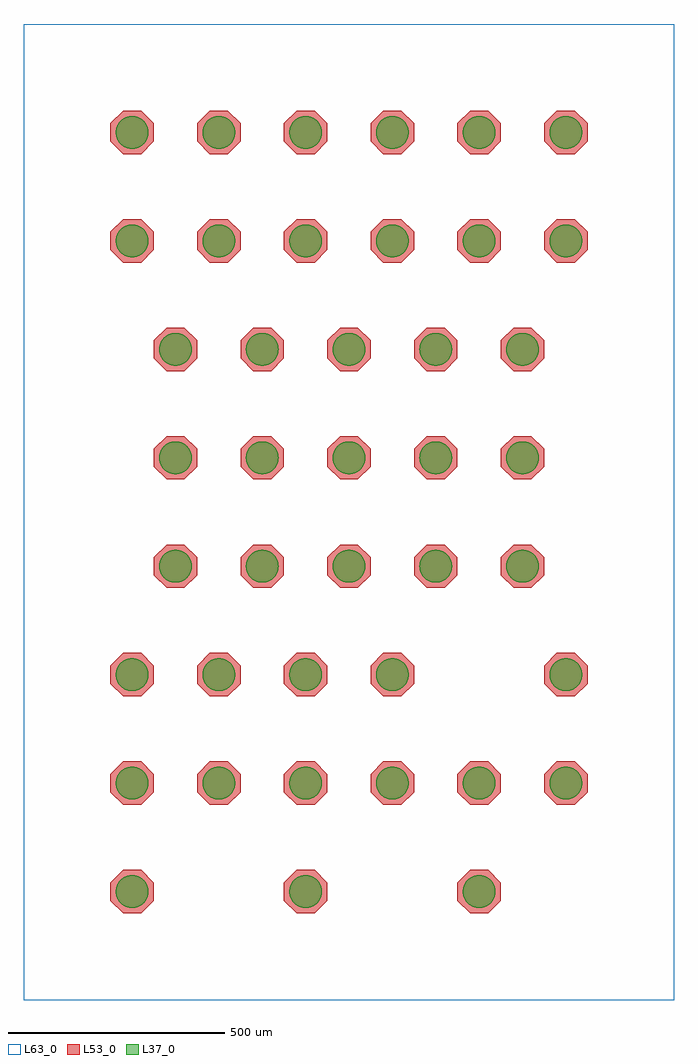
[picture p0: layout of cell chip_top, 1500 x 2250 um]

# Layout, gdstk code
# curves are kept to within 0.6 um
import gdstk
lib = gdstk.Library(unit=1e-6, precision=1e-09)
def R(c, l, rs):  # rectangles x0, y0, x1, y1
    for r in rs: c.add(gdstk.rectangle(r[:2], r[2:], *l))
def P(c, l, *ps):  # polygons
    for p in ps: c.add(gdstk.Polygon(p, *l))
L37_0 = (37, 0)
L53_0 = (53, 0)
L63_0 = (63, 0)

regular_polygon_6bb94d03 = lib.new_cell('regular_polygon_6bb94d03')
P(regular_polygon_6bb94d03, L53_0, [(20.711,-50),(50,-20.711),(50,20.711),(20.711,50),(-20.711,50),(-50,20.711),(-50,-20.711),(-20.711,-50)])

circle_cada633d = lib.new_cell('circle_cada633d')
P(circle_cada633d, L37_0, [(37.5,0),(36.681,7.797),(34.519,14.652),(31.089,20.97),(26.517,26.517),(20.97,31.089),(14.652,34.519),(7.797,36.681),(0,37.5),(-7.797,36.681),(-14.652,34.519),(-20.97,31.089),(-26.517,26.517),(-31.089,20.97),(-34.519,14.652),(-36.681,7.797),(-37.5,0),(-36.681,-7.797),(-34.519,-14.652),(-31.089,-20.97),(-26.517,-26.517),(-20.97,-31.089),(-14.652,-34.519),(-7.797,-36.681),(0,-37.5),(7.797,-36.681),(14.652,-34.519),(20.97,-31.089),(26.517,-26.517),(31.089,-20.97),(34.519,-14.652),(36.681,-7.797)])

c4_bump_octagon_993002c8 = lib.new_cell('c4_bump_octagon_993002c8')
c4_bump_octagon_993002c8.add(gdstk.Reference(regular_polygon_6bb94d03, (0,0)))
c4_bump_octagon_993002c8.add(gdstk.Reference(circle_cada633d, (0,0)))
c4_bump_octagon_993002c8.add(gdstk.Label('DVSS', (0,0), layer=53, texttype=10))

array_0a30dae9 = lib.new_cell('array_0a30dae9')
r = gdstk.Reference(c4_bump_octagon_993002c8, (0,0)); r.repetition = gdstk.Repetition(3, 2, v1=(400,0), v2=(0,250)); array_0a30dae9.add(r)

c4_bump_octagon_f25b7939 = lib.new_cell('c4_bump_octagon_f25b7939')
c4_bump_octagon_f25b7939.add(gdstk.Reference(regular_polygon_6bb94d03, (0,0)))
c4_bump_octagon_f25b7939.add(gdstk.Reference(circle_cada633d, (0,0)))
c4_bump_octagon_f25b7939.add(gdstk.Label('DVDD', (0,0), layer=53, texttype=10))

array_d0b5243a = lib.new_cell('array_d0b5243a')
r = gdstk.Reference(c4_bump_octagon_f25b7939, (0,0)); r.repetition = gdstk.Repetition(3, 2, v1=(400,0), v2=(0,250)); array_d0b5243a.add(r)

component_both_arrays = lib.new_cell('component_both_arrays')
component_both_arrays.add(gdstk.Reference(array_0a30dae9, (0,0)))
component_both_arrays.add(gdstk.Reference(array_d0b5243a, (200,0)))

array_cf3ecd37 = lib.new_cell('array_cf3ecd37')
r = gdstk.Reference(component_both_arrays, (0,0)); r.repetition = gdstk.Repetition(1, 1, v1=(1,0), v2=(0,1)); array_cf3ecd37.add(r)

c4_bump_octagon_417f5124 = lib.new_cell('c4_bump_octagon_417f5124')
c4_bump_octagon_417f5124.add(gdstk.Reference(regular_polygon_6bb94d03, (0,0)))
c4_bump_octagon_417f5124.add(gdstk.Reference(circle_cada633d, (0,0)))
c4_bump_octagon_417f5124.add(gdstk.Label('IO0', (0,0), layer=53, texttype=10))

c4_bump_octagon_abe76048 = lib.new_cell('c4_bump_octagon_abe76048')
c4_bump_octagon_abe76048.add(gdstk.Reference(regular_polygon_6bb94d03, (0,0)))
c4_bump_octagon_abe76048.add(gdstk.Reference(circle_cada633d, (0,0)))
c4_bump_octagon_abe76048.add(gdstk.Label('IO5', (0,0), layer=53, texttype=10))

c4_bump_octagon_cafefe8b = lib.new_cell('c4_bump_octagon_cafefe8b')
c4_bump_octagon_cafefe8b.add(gdstk.Reference(regular_polygon_6bb94d03, (0,0)))
c4_bump_octagon_cafefe8b.add(gdstk.Reference(circle_cada633d, (0,0)))
c4_bump_octagon_cafefe8b.add(gdstk.Label('IO10', (0,0), layer=53, texttype=10))

c4_bump_octagon_d4a20f7b = lib.new_cell('c4_bump_octagon_d4a20f7b')
c4_bump_octagon_d4a20f7b.add(gdstk.Reference(regular_polygon_6bb94d03, (0,0)))
c4_bump_octagon_d4a20f7b.add(gdstk.Reference(circle_cada633d, (0,0)))
c4_bump_octagon_d4a20f7b.add(gdstk.Label('IO1', (0,0), layer=53, texttype=10))

c4_bump_octagon_4bb3d9f8 = lib.new_cell('c4_bump_octagon_4bb3d9f8')
c4_bump_octagon_4bb3d9f8.add(gdstk.Reference(regular_polygon_6bb94d03, (0,0)))
c4_bump_octagon_4bb3d9f8.add(gdstk.Reference(circle_cada633d, (0,0)))
c4_bump_octagon_4bb3d9f8.add(gdstk.Label('IO6', (0,0), layer=53, texttype=10))

c4_bump_octagon_0ecad3bd = lib.new_cell('c4_bump_octagon_0ecad3bd')
c4_bump_octagon_0ecad3bd.add(gdstk.Reference(regular_polygon_6bb94d03, (0,0)))
c4_bump_octagon_0ecad3bd.add(gdstk.Reference(circle_cada633d, (0,0)))
c4_bump_octagon_0ecad3bd.add(gdstk.Label('IO11', (0,0), layer=53, texttype=10))

c4_bump_octagon_694fa937 = lib.new_cell('c4_bump_octagon_694fa937')
c4_bump_octagon_694fa937.add(gdstk.Reference(regular_polygon_6bb94d03, (0,0)))
c4_bump_octagon_694fa937.add(gdstk.Reference(circle_cada633d, (0,0)))
c4_bump_octagon_694fa937.add(gdstk.Label('IO2', (0,0), layer=53, texttype=10))

c4_bump_octagon_35af16ae = lib.new_cell('c4_bump_octagon_35af16ae')
c4_bump_octagon_35af16ae.add(gdstk.Reference(regular_polygon_6bb94d03, (0,0)))
c4_bump_octagon_35af16ae.add(gdstk.Reference(circle_cada633d, (0,0)))
c4_bump_octagon_35af16ae.add(gdstk.Label('IO7', (0,0), layer=53, texttype=10))

c4_bump_octagon_ea9cc903 = lib.new_cell('c4_bump_octagon_ea9cc903')
c4_bump_octagon_ea9cc903.add(gdstk.Reference(regular_polygon_6bb94d03, (0,0)))
c4_bump_octagon_ea9cc903.add(gdstk.Reference(circle_cada633d, (0,0)))
c4_bump_octagon_ea9cc903.add(gdstk.Label('IO12', (0,0), layer=53, texttype=10))

c4_bump_octagon_dbc2e500 = lib.new_cell('c4_bump_octagon_dbc2e500')
c4_bump_octagon_dbc2e500.add(gdstk.Reference(regular_polygon_6bb94d03, (0,0)))
c4_bump_octagon_dbc2e500.add(gdstk.Reference(circle_cada633d, (0,0)))
c4_bump_octagon_dbc2e500.add(gdstk.Label('IO3', (0,0), layer=53, texttype=10))

c4_bump_octagon_c54ad4dd = lib.new_cell('c4_bump_octagon_c54ad4dd')
c4_bump_octagon_c54ad4dd.add(gdstk.Reference(regular_polygon_6bb94d03, (0,0)))
c4_bump_octagon_c54ad4dd.add(gdstk.Reference(circle_cada633d, (0,0)))
c4_bump_octagon_c54ad4dd.add(gdstk.Label('IO8', (0,0), layer=53, texttype=10))

c4_bump_octagon_a8803ece = lib.new_cell('c4_bump_octagon_a8803ece')
c4_bump_octagon_a8803ece.add(gdstk.Reference(regular_polygon_6bb94d03, (0,0)))
c4_bump_octagon_a8803ece.add(gdstk.Reference(circle_cada633d, (0,0)))
c4_bump_octagon_a8803ece.add(gdstk.Label('IO13', (0,0), layer=53, texttype=10))

c4_bump_octagon_3c68c135 = lib.new_cell('c4_bump_octagon_3c68c135')
c4_bump_octagon_3c68c135.add(gdstk.Reference(regular_polygon_6bb94d03, (0,0)))
c4_bump_octagon_3c68c135.add(gdstk.Reference(circle_cada633d, (0,0)))
c4_bump_octagon_3c68c135.add(gdstk.Label('IO4', (0,0), layer=53, texttype=10))

c4_bump_octagon_a30aa7ed = lib.new_cell('c4_bump_octagon_a30aa7ed')
c4_bump_octagon_a30aa7ed.add(gdstk.Reference(regular_polygon_6bb94d03, (0,0)))
c4_bump_octagon_a30aa7ed.add(gdstk.Reference(circle_cada633d, (0,0)))
c4_bump_octagon_a30aa7ed.add(gdstk.Label('IO9', (0,0), layer=53, texttype=10))

c4_bump_octagon_686e9e69 = lib.new_cell('c4_bump_octagon_686e9e69')
c4_bump_octagon_686e9e69.add(gdstk.Reference(regular_polygon_6bb94d03, (0,0)))
c4_bump_octagon_686e9e69.add(gdstk.Reference(circle_cada633d, (0,0)))
c4_bump_octagon_686e9e69.add(gdstk.Label('IO14', (0,0), layer=53, texttype=10))

io_pads = lib.new_cell('io_pads')
io_pads.add(gdstk.Reference(array_0a30dae9, (0,0)))
io_pads.add(gdstk.Reference(array_d0b5243a, (200,250)))
io_pads.add(gdstk.Reference(array_cf3ecd37, (0,1500)))
io_pads.add(gdstk.Reference(c4_bump_octagon_993002c8, (0,500)))
io_pads.add(gdstk.Reference(c4_bump_octagon_f25b7939, (400,500)))
io_pads.add(gdstk.Reference(c4_bump_octagon_417f5124, (100,750)))
io_pads.add(gdstk.Reference(c4_bump_octagon_abe76048, (100,1000)))
io_pads.add(gdstk.Reference(c4_bump_octagon_cafefe8b, (100,1250)))
io_pads.add(gdstk.Reference(c4_bump_octagon_d4a20f7b, (300,750)))
io_pads.add(gdstk.Reference(c4_bump_octagon_4bb3d9f8, (300,1000)))
io_pads.add(gdstk.Reference(c4_bump_octagon_0ecad3bd, (300,1250)))
io_pads.add(gdstk.Reference(c4_bump_octagon_694fa937, (500,750)))
io_pads.add(gdstk.Reference(c4_bump_octagon_35af16ae, (500,1000)))
io_pads.add(gdstk.Reference(c4_bump_octagon_ea9cc903, (500,1250)))
io_pads.add(gdstk.Reference(c4_bump_octagon_dbc2e500, (700,750)))
io_pads.add(gdstk.Reference(c4_bump_octagon_c54ad4dd, (700,1000)))
io_pads.add(gdstk.Reference(c4_bump_octagon_a8803ece, (700,1250)))
io_pads.add(gdstk.Reference(c4_bump_octagon_3c68c135, (900,750)))
io_pads.add(gdstk.Reference(c4_bump_octagon_a30aa7ed, (900,1000)))
io_pads.add(gdstk.Reference(c4_bump_octagon_686e9e69, (900,1250)))

compass_5116ec66 = lib.new_cell('compass_5116ec66')
R(compass_5116ec66, L63_0, [(-750,-1125,750,1125)])

rectangle_5116ec66 = lib.new_cell('rectangle_5116ec66')
rectangle_5116ec66.add(gdstk.Reference(compass_5116ec66, (750,1125)))

chip_top = lib.new_cell('chip_top')
chip_top.add(gdstk.Reference(io_pads, (250,250)))
chip_top.add(gdstk.Reference(rectangle_5116ec66, (0,0)))

lib.write_gds('chip_top.gds')
